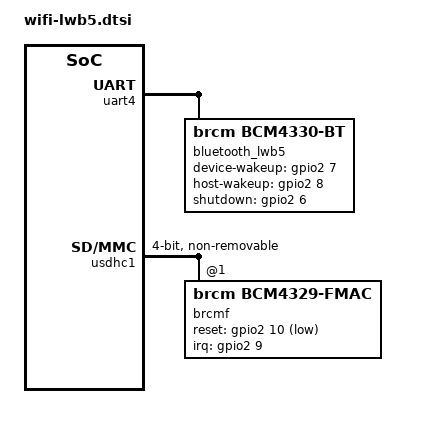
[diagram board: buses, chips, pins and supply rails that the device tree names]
&uart4 { /* bluetooth */
	bluetooth_lwb5: bluetooth {
		compatible = "brcm,bcm4330-bt";
		pinctrl-names = "default";
		pinctrl-0 = <&pinctrl_bt>;
		max-speed = <3000000>;
		device-wakeup-gpios = <&gpio2 7 GPIO_ACTIVE_HIGH>;
		host-wakeup-gpios = <&gpio2 8 GPIO_ACTIVE_HIGH>;
		shutdown-gpios = <&gpio2 6 GPIO_ACTIVE_HIGH>;
		status = "okay";
	};
};

&usdhc1_pwrseq {
	reset-gpios =	<&gpio2 10 GPIO_ACTIVE_LOW>; // WIFI res
};

&usdhc1 {
	#address-cells = <1>;
	#size-cells = <0>;
	pinctrl-names = "default", "state_100mhz", "state_200mhz";
	pinctrl-0 = <&pinctrl_usdhc1>, <&pinctrl_usdhc1_gpio>;
	pinctrl-1 = <&pinctrl_usdhc1_100mhz>, <&pinctrl_usdhc1_gpio>;
	pinctrl-2 = <&pinctrl_usdhc1_200mhz>, <&pinctrl_usdhc1_gpio>;
	bus-width = <4>;
	non-removable;
	wifi-host;
	pm-ignore-notify;
	cap-power-off-card;
	status = "okay";
	mmc-pwrseq = <&usdhc1_pwrseq>;
	keep-power-in-suspend;
	wakeup-source;
	fsl,sdio-async-interrupt-enable;
	brcmf: wifi@1 {
		compatible = "brcm,bcm4329-fmac";
		reg = <1>;
		interrupt-parent = <&gpio2>;
		interrupts = <9 IRQ_TYPE_LEVEL_HIGH>;
		interrupt-names = "host-wake";
		reset-gpios =	<&gpio2 10 GPIO_ACTIVE_LOW>; // WIFI res
		status = "okay";
	};
};

&iomuxc {
	pinctrl-names = "default";
	pinctrl-0 = <&pinctrl_hog_1>;

	wifi-lwb5 {
		pinctrl_usdhc1_gpio: usdhc1grpgpio {
			fsl,pins = <
				MX8MM_IOMUXC_SD1_RESET_B_GPIO2_IO10	0x06
			>;
		};
	};
};

